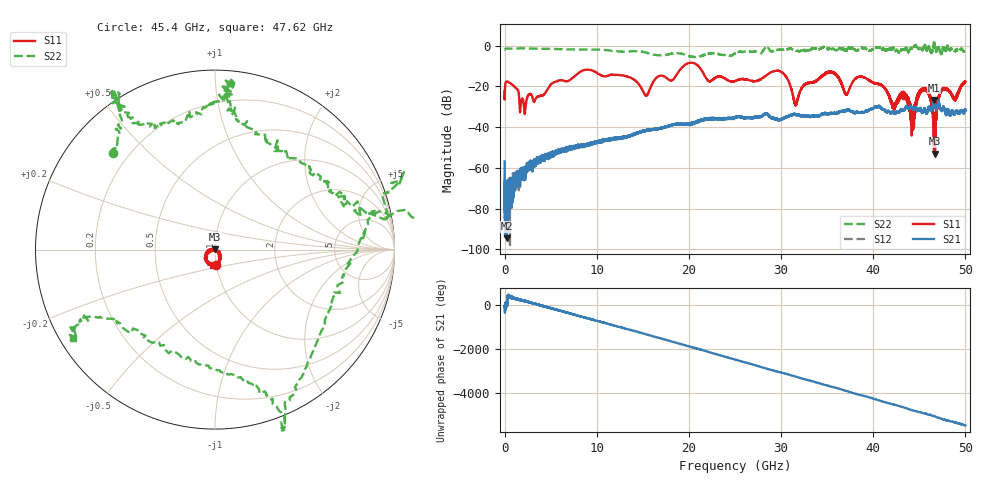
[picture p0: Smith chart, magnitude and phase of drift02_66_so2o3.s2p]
!Created with skrf (http://scikit-rf.org).
# Hz S RI R 50.0
!freq ReS11 ImS11 ReS21 ImS21 ReS12 ImS12 ReS22 ImS22
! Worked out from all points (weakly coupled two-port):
!   10001 points, 300 kHz to 50 GHz, reference 50 ohm
!   highest |S21| = -26.66 dB at 46.6 GHz (marker M1); lowest = -94.6 dB at 215.3 MHz (marker M2)
!   lowest |S11| = -53.0 dB at 46.65 GHz (marker M3), VSWR 1.00, Z = 49.8 + j0.113 ohm
!   |S11| at or under -10 dB: start of sweep to 19.42 GHz; 21.00457 GHz to 21.00797 GHz (3.404 MHz wide, 0.0162 % of centre); 21.01 GHz to end of sweep
!   |S22| runs from -5.7 to 2.5 dB; largest |S21 - S12| = 0.0037
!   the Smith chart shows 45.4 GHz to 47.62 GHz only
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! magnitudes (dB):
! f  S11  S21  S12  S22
! 300 kHz  -22.5  -56.8  -65.6  -2.1
! 215.3 MHz  -17.6  -94.6  -77.4  -1.4
! 2.185 GHz  -33.6  -65.9  -65.1  -1.3
! 8.335 GHz  -12.5  -49.3  -49.3  -1.9
! 15.35 GHz  -24.6  -41.8  -41.6  -3.4
! 16.67 GHz  -15.1  -40.8  -40.8  -4.7
! 20.3 GHz  -8.4  -38.1  -38.2  -5.5
! 25 GHz  -17.4  -35.3  -35.4  -3.9
! 29.84 GHz  -12.5  -36.5  -36.4  -2.0
! 31.59 GHz  -29.0  -33.8  -34.1  -2.4
! 33.34 GHz  -18.0  -34.5  -34.4  -1.5
! 35.58 GHz  -13.1  -33.2  -33.2  -1.6
! 37.1 GHz  -24.1  -31.7  -31.7  -2.1
! 38.76 GHz  -15.3  -32.7  -32.6  -1.0
! 41.67 GHz  -24.3  -32.2  -32.2  -1.9
! 43.42 GHz  -23.5  -31.2  -31.5  -1.8
! 44.27 GHz  -37.0  -30.9  -31.3  -1.4
! 45.7 GHz  -21.6  -32.7  -32.5  -0.7
! 46.6 GHz  -40.1  -26.7  -26.9  2.2
! 46.65 GHz  -53.0  -28.0  -28.1  0.7
! 47.46 GHz  -21.6  -31.7  -31.7  -3.5
! 50 GHz  -17.7  -31.4  -32.1  -2.8
